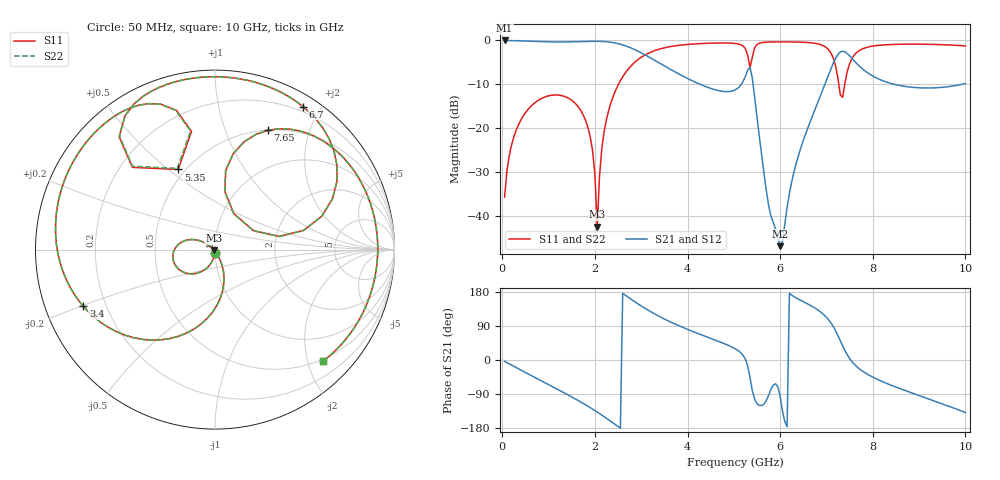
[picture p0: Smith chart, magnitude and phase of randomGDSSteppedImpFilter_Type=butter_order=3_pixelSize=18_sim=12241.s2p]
! freq	dB(S11)	phase(S11)	dB(S12)	phase(S12)
!  dB(S21)	phase(S21)	dB(S22)	phase(S22)
!S-par simulation data
#  GHz  S  DB  R 50
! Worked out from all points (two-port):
!   200 points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, 50 MHz to 10 GHz, reference 50 ohm
!   highest |S21| = -0.01 dB at 50 MHz (marker M1); lowest = -46.8 dB at 6 GHz (marker M2)
!   |S21| within 3 dB of the highest: start of sweep to 3.035 GHz; 7.262 GHz to 7.451 GHz (188.4 MHz wide, 2.56 % of centre)
!   lowest |S11| = -42.3 dB at 2.05 GHz (marker M3), VSWR 1.02, Z = 49.3 - j0.363 ohm
!   |S11| at or under -10 dB: start of sweep to 2.508 GHz; 7.267 GHz to 7.395 GHz (128.3 MHz wide, 1.75 % of centre)
!   |S22| runs from -42.9 to -0.3 dB; largest |S21 - S12| = 0
!   S11 on the Smith chart (normalised r, x): 50 MHz: 1.00, -0.03; 3.4 GHz: 0.12, -0.20; 5.35 GHz: 0.46, +0.54; 6.7 GHz: 0.14, +1.78; 7.65 GHz: 0.50, +1.42; 10 GHz: 0.46, -2.29
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0.05  -35.65 -93.0  -0.01 -3.4  -0.01 -3.4  -35.65 -93.0
0.2  -23.76 -103.3  -0.04 -13.4  -0.04 -13.4  -23.76 -103.3
0.6  -15.18 -129.8  -0.19 -39.5  -0.19 -39.5  -15.18 -129.9
1.75  -17.01 156.5  -0.24 -114.7  -0.24 -114.7  -17.01 156.4
1.95  -25.09 146.2  -0.19 -129.6  -0.19 -129.6  -25.10 145.7
2.05  -42.33 -151.2  -0.19 -137.4  -0.19 -137.4  -42.89 -152.2
2.15  -24.47 -63.8  -0.23 -145.5  -0.23 -145.5  -24.47 -63.3
2.35  -14.06 -75.8  -0.43 -162.4  -0.43 -162.4  -14.06 -75.6
3.4  -1.95 -156.7  -5.18 114.4  -5.18 114.4  -1.95 -156.7
4.15  -0.79 163.2  -9.42 73.5  -9.42 73.5  -0.79 163.3
5.05  -0.72 121.1  -11.13 28.2  -11.13 28.2  -0.72 121.3
5.35  -6.17 114.7  -6.16 -46.7  -6.16 -46.7  -6.04 114.9
5.45  -1.67 130.3  -13.02 -103.9  -13.02 -103.9  -1.65 130.1
5.75  -0.36 106.0  -37.44 -93.4  -37.44 -93.4  -0.36 105.9
6  -0.32 93.8  -46.79 -95.6  -46.79 -95.6  -0.32 93.7
6.7  -0.58 58.4  -17.11 140.9  -17.11 140.9  -0.58 58.4
7.05  -2.16 29.4  -7.73 105.6  -7.73 105.6  -2.16 29.3
7.25  -8.76 11.7  -3.14 63.9  -3.14 63.9  -8.77 11.5
7.4  -9.69 80.3  -2.61 24.6  -2.61 24.6  -9.71 80.5
7.65  -2.77 66.0  -5.22 -17.0  -5.22 -17.0  -2.77 66.1
8.35  -0.95 25.2  -9.65 -64.3  -9.65 -64.3  -0.95 25.2
10  -1.25 -45.8  -9.82 -138.6  -9.82 -138.6  -1.26 -46.0
